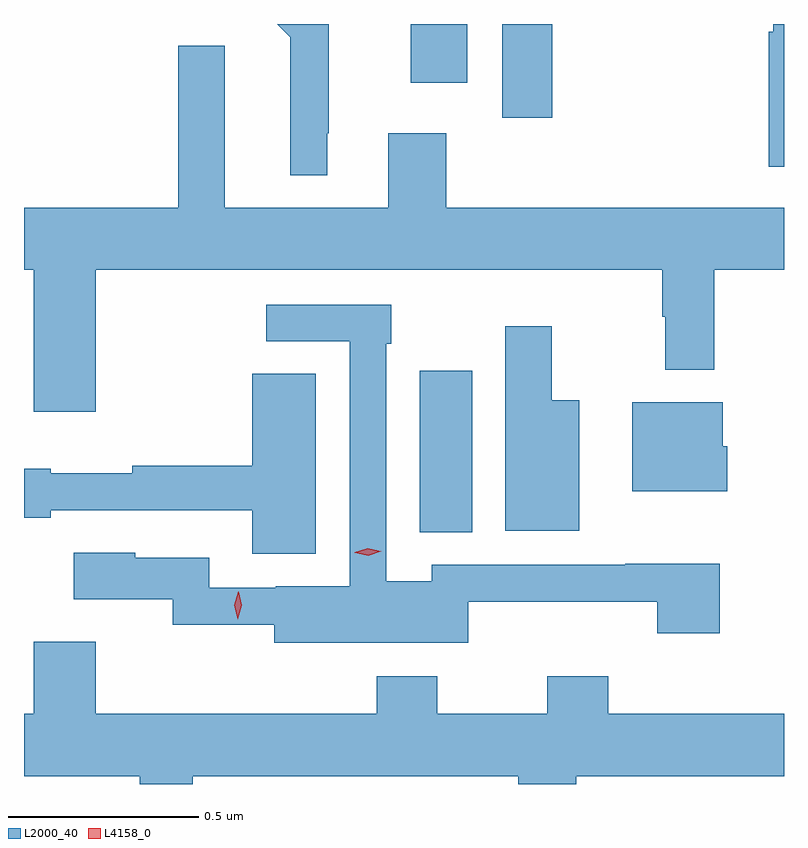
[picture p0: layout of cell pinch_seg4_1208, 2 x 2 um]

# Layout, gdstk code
import gdstk
lib = gdstk.Library(unit=1e-6, precision=1e-09)
def R(c, l, rs):  # rectangles x0, y0, x1, y1
    for r in rs: c.add(gdstk.rectangle(r[:2], r[2:], *l))
def P(c, l, *ps):  # polygons
    for p in ps: c.add(gdstk.Polygon(p, *l))
L2000_40 = (2000, 40)
L4158_0 = (4158, 0)

pinch_seg4_1208 = lib.new_cell('pinch_seg4_1208')
R(pinch_seg4_1208, L2000_40, [(417.773,772.153,417.91,772.579), (417.989,773.244,418.121,773.491), (417.749,773.337,417.898,773.491)])
P(pinch_seg4_1208, L2000_40, [(417.529,773.203),(417.533,773.203),(417.533,773.491),(417.397,773.491),(417.432,773.456),(417.432,773.354),(417.431,773.354),(417.431,773.093),(417.529,773.093)],
  [(418.731,773.491),(418.703,773.491),(418.703,773.47),(418.691,773.47),(418.691,773.115),(418.731,773.115)],
  [(417.689,773.203),(417.689,773.008),(417.259,773.008),(417.259,773.434),(417.137,773.434),(417.137,773.008),(416.731,773.008),(416.731,772.844),(416.756,772.844),(416.756,772.47),(416.92,772.47),(416.92,772.844),(418.411,772.844),(418.411,772.721),(418.419,772.721),(418.419,772.581),(418.547,772.581),(418.547,772.844),(418.731,772.844),(418.731,773.008),(417.842,773.008),(417.842,773.203)],
  [(417.9,771.971),(418.397,771.971),(418.397,771.888),(418.562,771.888),(418.562,772.07),(418.313,772.07),(418.313,772.068),(417.804,772.068),(417.804,772.024),(417.684,772.024),(417.684,772.649),(417.697,772.649),(417.697,772.752),(417.369,772.752),(417.369,772.656),(417.588,772.656),(417.588,772.012),(417.393,772.012),(417.393,772.008),(417.219,772.008),(417.219,772.086),(417.024,772.086),(417.024,772.099),(416.862,772.099),(416.862,771.977),(417.123,771.977),(417.123,771.91),(417.389,771.91),(417.389,771.863),(417.9,771.863)],
  [(418.192,772.501),(418.12,772.501),(418.12,772.696),(417.998,772.696),(417.998,772.157),(418.192,772.157)],
  [(417.499,772.571),(417.332,772.571),(417.332,772.328),(417.016,772.328),(417.016,772.309),(416.802,772.309),(416.802,772.321),(416.731,772.321),(416.731,772.192),(416.802,772.192),(416.802,772.212),(417.332,772.212),(417.332,772.097),(417.499,772.097)],
  [(418.582,772.38),(418.57,772.38),(418.57,772.495),(418.331,772.495),(418.331,772.262),(418.582,772.262)],
  [(417.175,771.512),(418.031,771.512),(418.031,771.491),(418.184,771.491),(418.184,771.512),(418.731,771.512),(418.731,771.676),(418.268,771.676),(418.268,771.775),(418.108,771.775),(418.108,771.676),(417.819,771.676),(417.819,771.775),(417.659,771.775),(417.659,771.676),(416.92,771.676),(416.92,771.865),(416.756,771.865),(416.756,771.676),(416.731,771.676),(416.731,771.512),(417.036,771.512),(417.036,771.491),(417.175,771.491)])
P(pinch_seg4_1208, L4158_0, [(417.293,771.925),(417.293,771.925),(417.284,771.961),(417.295,771.997),(417.295,771.997),(417.296,771.997),(417.304,771.961),(417.293,771.925)],
  [(417.637,772.092),(417.602,772.1),(417.601,772.101),(417.602,772.101),(417.636,772.112),(417.671,772.103),(417.671,772.103),(417.671,772.103)])

lib.write_gds('pinch_seg4_1208.gds')
